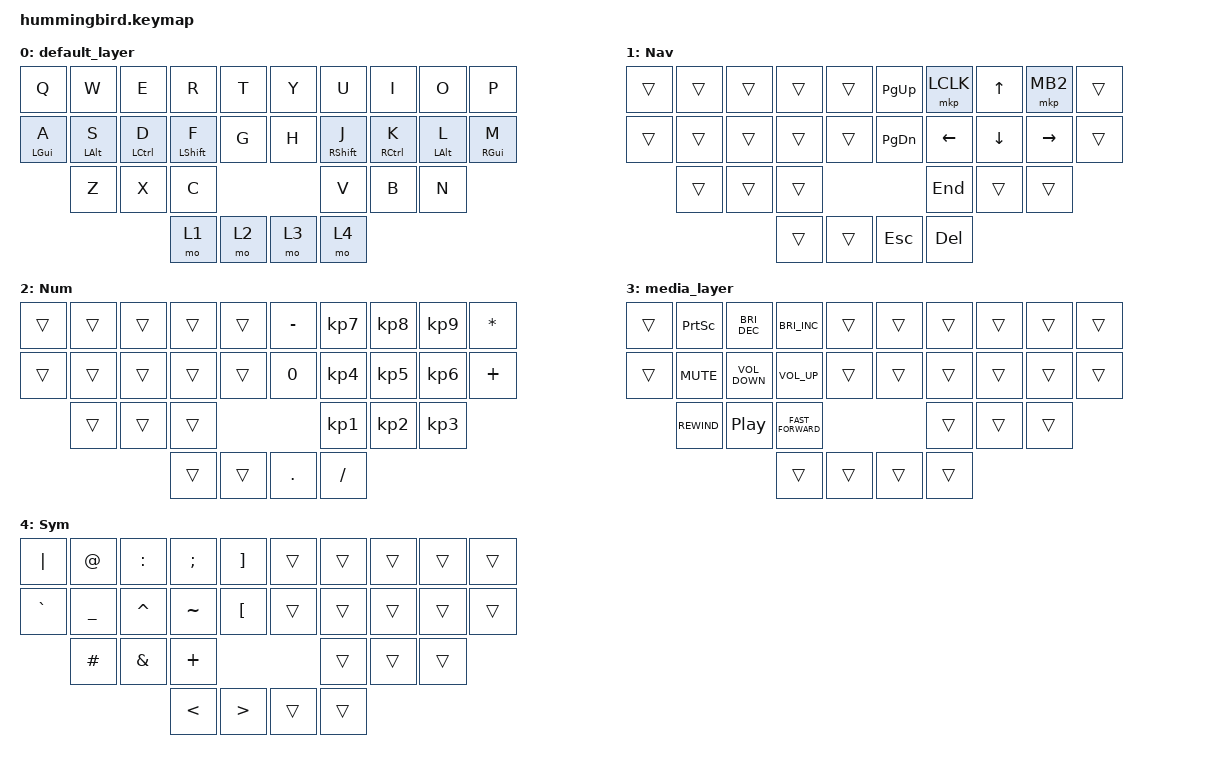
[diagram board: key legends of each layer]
/*
 * Copyright (c) 2022 The ZMK Contributors
 *
 * SPDX-License-Identifier: MIT
 */

#include <behaviors.dtsi>
#include <dt-bindings/zmk/keys.h>
#include <dt-bindings/zmk/pointing.h>

#define DEF_L 0
#define NAV_L 1
#define NUM_L 2
#define SYM_L 3

// Using layer taps on thumbs, having quick tap as well helps w/ repeating space/backspace

&lt { quick-tap-ms = <200>; };

/ {
    behaviors {
        hm: homerow_mods {
            compatible = "zmk,behavior-hold-tap";
            #binding-cells = <2>;
            tapping-term-ms = <225>;
            flavor = "tap-preferred";
            bindings = <&kp>, <&kp>;
        };
    };

    combos {
        compatible = "zmk,combos";

        Spacebar {
            bindings = <&kp SPACE>;
            key-positions = <16 17 18>;
        };

        Backspace {
            bindings = <&kp BACKSPACE>;
            key-positions = <13 12 11>;
        };

        Tab {
            bindings = <&kp TAB>;
            key-positions = <10 20>;
        };

        Escape {
            bindings = <&kp ESCAPE>;
            key-positions = <0 1>;
        };

        Delete {
            bindings = <&kp DELETE>;
            key-positions = <8 9>;
        };

        Enter {
            bindings = <&kp ENTER>;
            key-positions = <19 25>;
        };

        OpenParen {
            bindings = <&kp LEFT_PARENTHESIS>;
            key-positions = <4 14>;
        };

        ClosedParan {
            bindings = <&kp RIGHT_PARENTHESIS>;
            key-positions = <15 5>;
        };

        Period {
            bindings = <&kp PERIOD>;
            key-positions = <16 17>;
        };

        Comma {
            bindings = <&kp COMMA>;
            key-positions = <13 12>;
        };

        Exclamation {
            bindings = <&kp EXCL>;
            key-positions = <17 18>;
        };

        Question {
            bindings = <&kp QUESTION>;
            key-positions = <12 11>;
        };

        ForwardSlash {
            bindings = <&kp SLASH>;
            key-positions = <11 13>;
        };

        Dash {
            bindings = <&kp MINUS>;
            key-positions = <18 16>;
        };

        Apostrophe {
            bindings = <&kp SQT>;
            key-positions = <18 19>;
        };

        Quote {
            bindings = <&kp DOUBLE_QUOTES>;
            key-positions = <10 11>;
        };
    };

    keymap {
        compatible = "zmk,keymap";

        default_layer {
            bindings = <
&kp Q       &kp W       &kp E        &kp R        &kp T    &kp Y  &kp U        &kp I        &kp O       &kp P
&hm LGUI A  &hm LALT S  &hm LCTRL D  &hm LSHFT F  &kp G    &kp H  &hm RSHFT J  &hm RCTRL K  &hm LALT L  &hm RGUI M
            &kp Z       &kp X        &kp C                        &kp V        &kp B        &kp N
                                     &mo 1        &mo 2    &mo 3  &mo 4
            >;
        };

        nav_layer {
            display-name = "Nav";
            bindings = <
&trans  &trans  &trans  &trans  &trans    &kp PAGE_UP    &mkp LCLK  &kp UP    &mkp MB2   &trans
&trans  &trans  &trans  &trans  &trans    &kp PAGE_DOWN  &kp LEFT   &kp DOWN  &kp RIGHT  &trans
        &trans  &trans  &trans                           &kp END    &trans    &trans
                        &trans  &trans    &kp ESC        &kp DEL
            >;
        };

        num_layer {
            display-name = "Num";
            bindings = <
&trans  &trans  &trans  &trans  &trans    &kp MINUS   &kp KP_NUMBER_7  &kp KP_NUMBER_8  &kp KP_NUMBER_9  &kp ASTERISK
&trans  &trans  &trans  &trans  &trans    &kp N0      &kp KP_NUMBER_4  &kp KP_NUMBER_5  &kp KP_NUMBER_6  &kp PLUS
        &trans  &trans  &trans                        &kp KP_NUMBER_1  &kp KP_NUMBER_2  &kp KP_NUMBER_3
                        &trans  &trans    &kp PERIOD  &kp SLASH
            >;
        };

        media_layer {
            bindings = <
&trans  &kp PRINTSCREEN  &kp C_BRIGHTNESS_DEC  &kp C_BRIGHTNESS_INC  &trans    &trans  &trans  &trans  &trans  &trans
&trans  &kp K_MUTE       &kp K_VOLUME_DOWN     &kp C_VOLUME_UP       &trans    &trans  &trans  &trans  &trans  &trans
        &kp C_REWIND     &kp C_PLAY_PAUSE      &kp C_FAST_FORWARD                      &trans  &trans  &trans
                                               &trans                &trans    &trans  &trans
            >;
        };

        sym_layer {
            display-name = "Sym";
            bindings = <
&kp PIPE   &kp AT_SIGN     &kp COLON      &kp SEMICOLON  &kp RIGHT_BRACKET    &trans  &trans  &trans  &trans  &trans
&kp GRAVE  &kp UNDERSCORE  &kp CARET      &kp TILDE      &kp LEFT_BRACKET     &trans  &trans  &trans  &trans  &trans
           &kp HASH        &kp AMPERSAND  &kp PLUS                                    &trans  &trans  &trans
                                          &kp LESS_THAN  &kp GREATER_THAN     &trans  &trans
            >;
        };
    };
};
